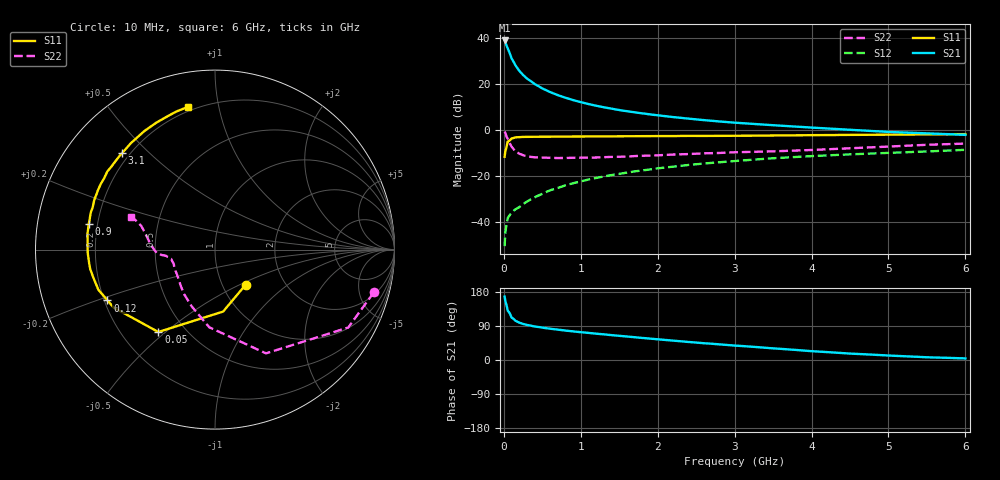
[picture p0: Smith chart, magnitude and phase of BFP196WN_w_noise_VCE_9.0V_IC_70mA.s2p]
! Infineon Technologies  Discrete & RF Semiconductors
! BFP196WN
! VCE =  9.0 V,  IC =  70 mA
! Common Emitter S-Parameters:  Jan 2017
# GHz  S  MA  R  50
!  f  S11  S21  S12  S22
! GHz  MAG  ANG  MAG  ANG  MAG  ANG  MAG  ANG
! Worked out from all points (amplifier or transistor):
!   77 points, 10 MHz to 6 GHz, reference 50 ohm
!   highest |S21| = 39.1 dB at 10 MHz (marker M1)
!   |S21| within 3 dB of that: start of sweep to 44.46 MHz
!   unconditionally stable (mu >= 1): 612.5 MHz to 2.374 GHz
!   at 130 MHz: K = 0.59, MSG = 32.4 dB, |S12| = -35.2 dB
!   at 2.2 GHz: K = 1.02, MAG = 10.0 dB, |S12| = -16.0 dB
!   at 6 GHz: K = 0.90, MSG = 3.3 dB, |S12| = -8.7 dB
!   lowest NFmin = 1.47 dB at 450 MHz
!   S11 on the Smith chart (normalised r, x): 10 MHz: 1.28, -0.54; 50 MHz: 0.36, -0.47; 120 MHz: 0.21, -0.21; 900 MHz: 0.17, +0.10; 3.1 GHz: 0.17, +0.41; 6 GHz: 0.18, +0.81
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0.01  0.2596 -48.9  89.74 167.4  0.0029 79.6  0.9162 -15.1
0.02  0.3482 -82.5  82.19 155.0  0.0058 73.2  0.86 -30.3
0.05  0.5571 -124.5  60.4 130.4  0.0118 54.8  0.6442 -63.8
0.1  0.6508 -150.3  36.55 112.1  0.0156 50.7  0.434 -94.2
0.12  0.6626 -154.7  32.16 109.4  0.0167 51.2  0.3932 -100.4
0.15  0.6873 -161.0  25.75 103.7  0.0184 51.9  0.3429 -112.1
0.2  0.6957 -167.1  19.62 98.7  0.0206 54.8  0.3032 -124.3
0.25  0.7036 -171.1  15.85 95.2  0.024 57.8  0.2808 -132.2
0.3  0.7055 -174.2  13.28 92.6  0.0272 60.1  0.2648 -139.0
0.4  0.7093 -178.6  10.05 88.4  0.0338 64.6  0.2527 -147.3
0.5  0.7106 178.3  8.049 85.4  0.0402 66.4  0.2489 -153.2
0.6  0.7117 175.5  6.724 82.6  0.0481 68.0  0.2463 -157.6
0.7  0.716 173.0  5.763 80.2  0.054 69.1  0.2432 -160.4
0.8  0.7163 170.7  5.046 77.7  0.0617 69.9  0.2443 -162.2
0.9  0.718 168.7  4.478 75.5  0.0686 69.1  0.2465 -164.1
1.1  0.7202 165.0  3.677 71.5  0.0826 69.6  0.2485 -167.1
1.5  0.7262 158.3  2.718 63.8  0.1099 67.8  0.2595 -170.7
2.1  0.734 148.7  1.996 52.9  0.1513 64.0  0.2846 -173.4
3.1  0.7465 133.9  1.404 36.8  0.2154 56.1  0.3284 -177.6
4.1  0.7701 119.6  1.101 22.1  0.2729 47.7  0.371 172.7
5.1  0.7902 108.8  0.891 10.9  0.32 40.1  0.441 161.5
6  0.8088 100.9  0.779 4.2  0.3677 34.1  0.5029 158.8
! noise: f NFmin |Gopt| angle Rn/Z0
0.45  1.47  0.57  -176  0.05
0.9  1.6  0.58  -169  0.06
1.9  2.54  0.7  -147  0.19
2.4  3.34  0.71  -139  0.32
